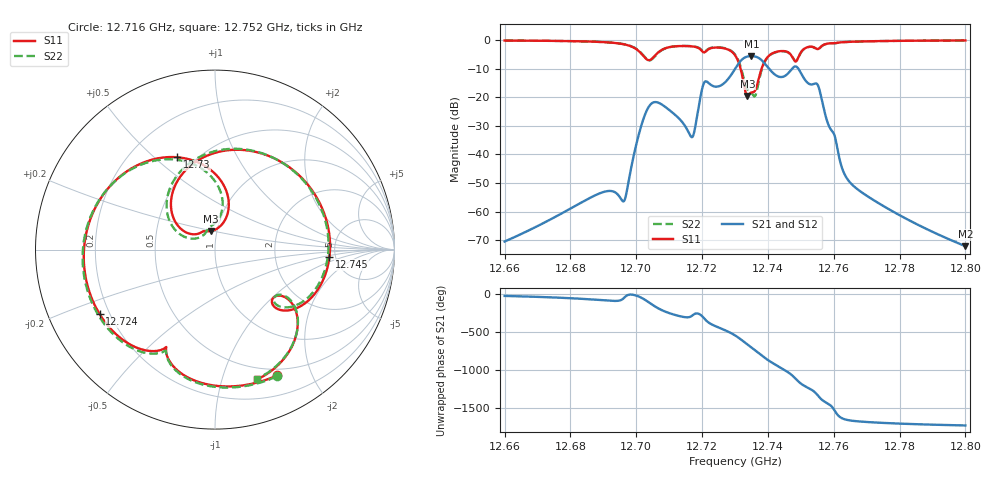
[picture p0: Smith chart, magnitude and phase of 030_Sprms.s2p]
! TOUCHSTONE file generated by CST MICROWAVE STUDIO
! Date and time: Wed Jul 31 12:10:16 2024
! Project name: WaveGuide_BPF-Ver4.1_U-shape_Ku_T3_C4_CWA_2.cst
! Parameters = {cavity_h=16; cavity_l0=10; cavity_l1=15.2141; cavity_l2=16.8531; cavity_l3=17.1404; cavity_l4=17.2419; cavity_l5=17.089; cavity_l6=17.5677; cavity_r=2.5; cavity_screw_l=0.5; cavity_screw_r=1.5; cavity_w=8; iris_h00=0; iris_h01=8.8163; iris_h112=0; iris_h12=5.5985; iris_h211=3.6685; i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
! Header version: 2018
! Port assignment regex: !\s*Touchstone port\s*([0-9]+)\s*=\s*(CST MWS port|CST DS port)\s*([0-9]+|Zmin|Zmax)\s*\(\"(.*)\"\)(\s*mode\s*([0-9]+))?.*
! Touchstone port assignment:
! Touchstone port 1 = CST MWS port 1 ("")
! Touchstone port 2 = CST MWS port 2 ("")
# GHz S RI R 50
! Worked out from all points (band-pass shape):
!   5001 points, 12.66 GHz to 12.8 GHz, reference 50 ohm
!   highest |S21| = -5.63 dB at 12.735 GHz (marker M1); lowest = -72.1 dB at 12.8 GHz (marker M2)
!   |S21| within 3 dB of the highest: 12.73085 GHz to 12.73933 GHz (8.478 MHz wide, 0.0666 % of centre)
!   lowest |S11| = -19.5 dB at 12.734 GHz (marker M3), VSWR 1.24, Z = 46.9 + j9.83 ohm
!   |S11| at or under -10 dB: 12.73169 GHz to 12.73809 GHz (6.403 MHz wide, 0.0503 % of centre)
!   |S22| runs from -19.7 to -0.2 dB; largest |S21 - S12| = 1e-09
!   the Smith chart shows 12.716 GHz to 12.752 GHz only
!   S11 on the Smith chart (normalised r, x): 12.716 GHz: 0.42, -1.52; 12.724 GHz: 0.16, -0.25; 12.73 GHz: 0.40, +0.59; 12.745 GHz: 4.45, -0.61; 12.752 GHz: 0.38, -1.31
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12.66  0.3696 0.9066  0.000269 -0.000134  0.000269 -0.000134  0.3745 0.9045
12.68335  0.8094 0.4944  0.000633 -0.0013  0.000633 -0.0013  0.813 0.4888
12.6962  0.7596 -0.3644  0.000864 -0.00125  0.000864 -0.00125  0.7641 -0.3631
12.7001  0.1987 -0.6576  0.0144 -0.0062  0.0144 -0.0062  0.2214 -0.6608
12.70351  -0.4466 -0.0318  -0.0128 -0.0625  -0.0128 -0.0625  -0.4423 -0.072
12.70668  0.2021 0.5733  -0.0794 0.0129  -0.0794 0.0129  0.1878 0.5657
12.71071  0.7627 0.00712  -0.00824 0.055  -0.00824 0.055  0.7612 -0.00256
12.71589  0.3458 -0.7009  0.0143 0.0197  0.0143 0.0197  0.3436 -0.7066
12.72065  -0.2716 -0.5428  0.1417 0.1121  0.1417 0.1121  -0.2742 -0.5628
12.72373  -0.6421 -0.3602  0.0849 -0.1285  0.0849 -0.1285  -0.6389 -0.3827
12.72986  -0.212 0.5147  -0.3023 -0.00268  -0.3023 -0.00268  -0.2717 0.5031
12.73  -0.1824 0.5113  -0.3108 0.0173  -0.3108 0.0173  -0.2429 0.5029
12.73375  -0.021 0.1035  0.2805 0.4305  0.2805 0.4305  -0.0128 0.1372
12.73498  -0.0636 0.1027  0.5021 0.1461  0.5021 0.1461  -0.0409 0.1123
12.73792  -0.2334 0.1811  0.062 -0.4479  0.062 -0.4479  -0.2429 0.1387
12.74142  0.2134 0.5472  -0.2678 0.0286  -0.2678 0.0286  0.1563 0.5594
12.74506  0.6376 -0.0408  0.0338 0.2313  0.0338 0.2313  0.6321 -0.00113
12.75246  0.2364 -0.7221  -0.1586 -0.0662  -0.1586 -0.0662  0.2329 -0.72
12.75335  0.1095 -0.7551  -0.1672 -0.00251  -0.1672 -0.00251  0.1038 -0.7522
12.76388  -0.6534 -0.6538  -0.00338 0.00197  -0.00338 0.00197  -0.6589 -0.6479
12.77668  -0.9445 -0.185  -0.000297 0.00107  -0.000297 0.00107  -0.9463 -0.1772
12.8  -0.936 0.2969  6.25e-05 0.000241  6.25e-05 0.000241  -0.9344 0.3023
